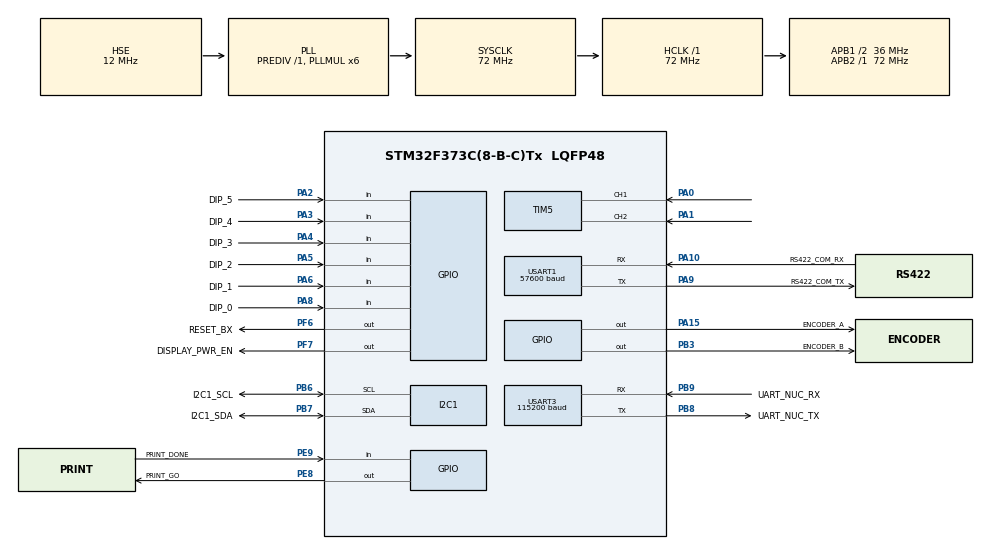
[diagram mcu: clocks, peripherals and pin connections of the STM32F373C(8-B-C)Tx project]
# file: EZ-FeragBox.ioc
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Mcu.Family=STM32F3
Mcu.Name=STM32F373C(8-B-C)Tx
Mcu.Package=LQFP48
NVIC.PriorityGroup=NVIC_PRIORITYGROUP_4
NVIC.RCC_IRQn=true\:0\:0\:false\:false\:true\:true\:false\:true
NVIC.TIM2_IRQn=true\:1\:0\:true\:false\:true\:true\:true\:true
NVIC.TIM3_IRQn=true\:0\:0\:false\:false\:true\:true\:true\:true
NVIC.TIM5_IRQn=true\:0\:0\:false\:false\:true\:true\:true\:true
NVIC.USART1_IRQn=true\:0\:0\:false\:false\:true\:true\:true\:true
NVIC.USART3_IRQn=true\:0\:0\:false\:false\:true\:true\:true\:true
PA0.Signal=S_TIM5_CH1_ETR
PA1.Signal=S_TIM5_CH2
PA10.GPIO_Label=RS422_COM_RX
PA10.Mode=Asynchronous
PA10.Signal=USART1_RX
PA13.Mode=Serial_Wire
PA13.Signal=SYS_JTMS-SWDIO
PA14.Mode=Serial_Wire
PA14.Signal=SYS_JTCK-SWCLK
PA15.GPIO_Label=ENCODER_A
PA15.GPIO_Speed=GPIO_SPEED_FREQ_HIGH
PA15.PinState=GPIO_PIN_SET
PA15.Signal=GPIO_Output
PA2.GPIO_Label=DIP_5
PA2.Signal=GPIO_Input
PA3.GPIO_Label=DIP_4
PA3.Signal=GPIO_Input
PA4.GPIO_Label=DIP_3
PA4.Signal=GPIO_Input
PA5.GPIO_Label=DIP_2
PA5.Signal=GPIO_Input
PA6.GPIO_Label=DIP_1
PA6.Signal=GPIO_Input
PA8.GPIO_Label=DIP_0
PA8.Signal=GPIO_Input
PA9.GPIO_Label=RS422_COM_TX
PA9.Mode=Asynchronous
PA9.Signal=USART1_TX
PB3.GPIO_Label=ENCODER_B
PB3.GPIO_Speed=GPIO_SPEED_FREQ_HIGH
PB3.PinState=GPIO_PIN_SET
PB3.Signal=GPIO_Output
PB6.GPIO_Label=I2C1_SCL
PB6.Mode=I2C
PB6.Signal=I2C1_SCL
PB7.GPIO_Label=I2C1_SDA
PB7.Mode=I2C
PB7.Signal=I2C1_SDA
PB8.GPIO_Label=UART_NUC_TX
PB8.Mode=Asynchronous
PB8.Signal=USART3_TX
PB9.GPIO_Label=UART_NUC_RX
PB9.Mode=Asynchronous
PB9.Signal=USART3_RX
PE8.GPIO_Label=PRINT_GO
PE8.Signal=GPIO_Output
PE9.GPIO_Label=PRINT_DONE
PE9.Signal=GPIO_Input
PF0-OSC_IN.Mode=HSE-External-Oscillator
PF0-OSC_IN.Signal=RCC_OSC_IN
PF1-OSC_OUT.Mode=HSE-External-Oscillator
PF1-OSC_OUT.Signal=RCC_OSC_OUT
PF6.GPIO_Label=RESET_BX
PF6.Signal=GPIO_Output
PF7.GPIO_Label=DISPLAY_PWR_EN
PF7.PinState=GPIO_PIN_SET
PF7.Signal=GPIO_Output
ProjectManager.HeapSize=0x200
ProjectManager.StackSize=0x400
ProjectManager.TargetToolchain=STM32CubeIDE
RCC.AHBFreq_Value=72000000
RCC.APB1CLKDivider=RCC_HCLK_DIV2
RCC.APB1Freq_Value=36000000
RCC.APB1TimFreq_Value=72000000
RCC.APB2Freq_Value=72000000
RCC.APB2TimFreq_Value=72000000
RCC.CortexFreq_Value=72000000
RCC.HCLKFreq_Value=72000000
RCC.HSE_VALUE=12000000
RCC.HSI_VALUE=8000000
RCC.LSE_VALUE=32768
RCC.PLLMUL=RCC_PLL_MUL6
RCC.PLLSourceVirtual=RCC_PLLSOURCE_HSE
RCC.PRESCALERUSB=RCC_USBCLKSOURCE_PLL_DIV1_5
RCC.SYSCLKFreq_VALUE=72000000
RCC.SYSCLKSource=RCC_SYSCLKSOURCE_PLLCLK
RCC.USBFreq_Value=48000000
SH.S_TIM5_CH1_ETR.0=TIM5_CH1,Encoder_Interface
SH.S_TIM5_CH2.0=TIM5_CH2,Encoder_Interface
TIM2.CounterMode=TIM_COUNTERMODE_DOWN
TIM2.Period=100000
TIM3.AutoReloadPreload=TIM_AUTORELOAD_PRELOAD_DISABLE
TIM3.CounterMode=TIM_COUNTERMODE_DOWN
TIM3.Period=10
TIM3.Prescaler=7200
TIM5.AutoReloadPreload=TIM_AUTORELOAD_PRELOAD_ENABLE
TIM5.EncoderMode=TIM_ENCODERMODE_TI12
TIM5.IC1Filter=10
TIM5.IC2Filter=10
USART1.BaudRate=57600
USART1.Parity=PARITY_ODD
USART1.VirtualMode-Asynchronous=VM_ASYNC
USART1.WordLength=WORDLENGTH_9B
USART3.BaudRate=115200
USART3.VirtualMode-Asynchronous=VM_ASYNC
VP_TIM2_VS_ClockSourceINT.Mode=Internal
VP_TIM3_VS_ClockSourceINT.Mode=Internal
board=custom

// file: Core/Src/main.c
/* USER CODE BEGIN Header */
/**
  ******************************************************************************
  * @file           : main.c
  * @brief          : Main program body
  ******************************************************************************
  * @attention
  *
  * Copyright (c) 2024 STMicroelectronics.
  * All rights reserved.
  *
  * This software is licensed under terms that can be found in the LICENSE file
  * in the root directory of this software component.
  * If no LICENSE file comes with this software, it is provided AS-IS.
  *
  ******************************************************************************
  */
/* USER CODE END Header */
#include "main.h"

/* USER CODE BEGIN Includes */

#include <math.h>
#include <stdarg.h>
#include "enc.h"
#include "box.h"
#include "term.h"

#include "AD5593.h"

/* USER CODE END Includes */

/* USER CODE BEGIN PD */

#define CDC_TRANSMIT_TIMEOUT_MS 5 // Timeout for CDC transmission retry before abort

/* USER CODE END PD */

/* USER CODE BEGIN PM */
// htim2: Encoder out clock
// htim3: Timer for encoder-in frequency measurement (10000 ticks/sec)
// htim5: Encoder counter
/* USER CODE END PM */

I2C_HandleTypeDef hi2c1;

TIM_HandleTypeDef htim2;
TIM_HandleTypeDef htim3;
TIM_HandleTypeDef htim5;

UART_HandleTypeDef huart1;
UART_HandleTypeDef huart3;

/* USER CODE BEGIN PV */
volatile uint8_t RxDataNUC;
volatile uint8_t RxDataFERAG;
#define NUC_FIFO_CNT 16
#define NUC_FIFO_SIZE	512
volatile uint8_t TxDataNuc[NUC_FIFO_CNT][NUC_FIFO_SIZE];
volatile uint8_t TxDataLenNuc[NUC_FIFO_CNT];

static int _NUC_InIdx=0;
static int _NUC_StartIdx=0;
static int _NUC_Busy=0;
static int _powerDisplay=12000;
static UINT32 _JumpToAddr=-1;

/* USER CODE END PV */

void SystemClock_Config(void);
static void MX_GPIO_Init(void);
static void MX_USART3_UART_Init(void);
static void MX_TIM3_Init(void);
static void MX_I2C1_Init(void);
static void MX_TIM2_Init(void);
static void MX_TIM5_Init(void);
static void MX_USART1_UART_Init(void);
/* USER CODE BEGIN PFP */

#define WRITE_PROTOTYPE int _write(int file, char *ptr, int len)
static void _jump_to(UINT32 addr);
static void MX_GPIO_DeInit(void);

// void powerCommand(const char* args);

static void _tick_10ms(int ticks);

/* USER CODE END PFP */

int main(void)
{

  /* USER CODE BEGIN 1 */

  if ((int)main>0x8008000)
	  SCB->VTOR = 0x8008000;	// SCB->VTOR must point to the start address of FLASH in >>STM32F373CCTX_FLASH.ld<< if other than 0x8000000

  /* USER CODE END 1 */

  /* MCU Configuration--------------------------------------------------------*/

  /* Reset of all peripherals, Initializes the Flash interface and the Systick. */
  HAL_Init();

  /* Configure the system clock */
  SystemClock_Config();

  /* Initialize all configured peripherals */
  MX_GPIO_Init();
  MX_USART3_UART_Init();
  MX_TIM3_Init();
  MX_I2C1_Init();
  MX_TIM2_Init();
  MX_TIM5_Init();
  MX_USART1_UART_Init();
  /* USER CODE BEGIN 2 */

  HAL_TIM_Encoder_Start(&htim5, TIM_CHANNEL_ALL);

  // Kick off asynchronous UART RCV
  HAL_UART_Receive_IT(&huart1, (uint8_t*)&RxDataFERAG, 1);
  HAL_UART_Receive_IT(&huart3, (uint8_t*)&RxDataNUC, 1);

  term_init();
  enc_init();
  box_init();

  /* USER CODE END 2 */

  /* Infinite loop */
  /* USER CODE BEGIN WHILE */
	AD55936_init(&hi2c1, 0x10 << 1);
	int _ticks=0;
	while (1)
	{
    /* USER CODE END WHILE */

    /* USER CODE BEGIN 3 */
		if (_JumpToAddr!=-1) _jump_to(_JumpToAddr);
		int ticks= HAL_GetTick();

		while (ticks-_ticks>9)
		{
			_tick_10ms(ticks);
			_ticks=ticks;
			if (_powerDisplay && _ticks>_powerDisplay)
			{
				_powerDisplay=0;
				HAL_GPIO_WritePin(DISPLAY_PWR_EN_GPIO_Port, DISPLAY_PWR_EN_Pin, GPIO_PIN_SET);
			}
		}
		box_idle();
//		term_idle();
	}
  /* USER CODE END 3 */
}

void SystemClock_Config(void)
{
  RCC_OscInitTypeDef RCC_OscInitStruct = {0};
  RCC_ClkInitTypeDef RCC_ClkInitStruct = {0};
  RCC_PeriphCLKInitTypeDef PeriphClkInit = {0};

  /** Initializes the RCC Oscillators according to the specified parameters
  * in the RCC_OscInitTypeDef structure.
  */
  RCC_OscInitStruct.OscillatorType = RCC_OSCILLATORTYPE_HSI|RCC_OSCILLATORTYPE_HSE;
  RCC_OscInitStruct.HSEState = RCC_HSE_ON;
  RCC_OscInitStruct.HSEPredivValue = RCC_HSE_PREDIV_DIV1;
  RCC_OscInitStruct.HSIState = RCC_HSI_ON;
  RCC_OscInitStruct.HSICalibrationValue = RCC_HSICALIBRATION_DEFAULT;
  RCC_OscInitStruct.PLL.PLLState = RCC_PLL_ON;
  RCC_OscInitStruct.PLL.PLLSource = RCC_PLLSOURCE_HSE;
  RCC_OscInitStruct.PLL.PLLMUL = RCC_PLL_MUL6;
  if (HAL_RCC_OscConfig(&RCC_OscInitStruct) != HAL_OK)
  {
    Error_Handler();
  }

  /** Initializes the CPU, AHB and APB buses clocks
  */
  RCC_ClkInitStruct.ClockType = RCC_CLOCKTYPE_HCLK|RCC_CLOCKTYPE_SYSCLK
                              |RCC_CLOCKTYPE_PCLK1|RCC_CLOCKTYPE_PCLK2;
  RCC_ClkInitStruct.SYSCLKSource = RCC_SYSCLKSOURCE_PLLCLK;
  RCC_ClkInitStruct.AHBCLKDivider = RCC_SYSCLK_DIV1;
  RCC_ClkInitStruct.APB1CLKDivider = RCC_HCLK_DIV2;
  RCC_ClkInitStruct.APB2CLKDivider = RCC_HCLK_DIV1;

  if (HAL_RCC_ClockConfig(&RCC_ClkInitStruct, FLASH_LATENCY_2) != HAL_OK)
  {
    Error_Handler();
  }
  PeriphClkInit.PeriphClockSelection = RCC_PERIPHCLK_USART1|RCC_PERIPHCLK_USART3
                              |RCC_PERIPHCLK_I2C1;
  PeriphClkInit.Usart1ClockSelection = RCC_USART1CLKSOURCE_PCLK2;
  PeriphClkInit.Usart3ClockSelection = RCC_USART3CLKSOURCE_PCLK1;
  PeriphClkInit.I2c1ClockSelection = RCC_I2C1CLKSOURCE_HSI;
  if (HAL_RCCEx_PeriphCLKConfig(&PeriphClkInit) != HAL_OK)
  {
    Error_Handler();
  }
}

static void MX_I2C1_Init(void)
{

  hi2c1.Instance = I2C1;
  hi2c1.Init.Timing = 0x2000090E;
  hi2c1.Init.OwnAddress1 = 0;
  hi2c1.Init.AddressingMode = I2C_ADDRESSINGMODE_7BIT;
  hi2c1.Init.DualAddressMode = I2C_DUALADDRESS_DISABLE;
  hi2c1.Init.OwnAddress2 = 0;
  hi2c1.Init.OwnAddress2Masks = I2C_OA2_NOMASK;
  hi2c1.Init.GeneralCallMode = I2C_GENERALCALL_DISABLE;
  hi2c1.Init.NoStretchMode = I2C_NOSTRETCH_DISABLE;
  if (HAL_I2C_Init(&hi2c1) != HAL_OK)
  {
    Error_Handler();
  }

  /** Configure Analogue filter
  */
  if (HAL_I2CEx_ConfigAnalogFilter(&hi2c1, I2C_ANALOGFILTER_ENABLE) != HAL_OK)
  {
    Error_Handler();
  }

  /** Configure Digital filter
  */
  if (HAL_I2CEx_ConfigDigitalFilter(&hi2c1, 0) != HAL_OK)
  {
    Error_Handler();
  }

}

static void MX_TIM2_Init(void)
{

  /* USER CODE BEGIN TIM2_Init 0 */
//	PWM for encoder output
  /* USER CODE END TIM2_Init 0 */

  TIM_ClockConfigTypeDef sClockSourceConfig = {0};
  TIM_MasterConfigTypeDef sMasterConfig = {0};

  htim2.Instance = TIM2;
  htim2.Init.Prescaler = 0;
  htim2.Init.CounterMode = TIM_COUNTERMODE_DOWN;
  htim2.Init.Period = 100000;
  htim2.Init.ClockDivision = TIM_CLOCKDIVISION_DIV1;
  htim2.Init.AutoReloadPreload = TIM_AUTORELOAD_PRELOAD_DISABLE;
  if (HAL_TIM_Base_Init(&htim2) != HAL_OK)
  {
    Error_Handler();
  }
  sClockSourceConfig.ClockSource = TIM_CLOCKSOURCE_INTERNAL;
  if (HAL_TIM_ConfigClockSource(&htim2, &sClockSourceConfig) != HAL_OK)
  {
    Error_Handler();
  }
  sMasterConfig.MasterOutputTrigger = TIM_TRGO_RESET;
  sMasterConfig.MasterSlaveMode = TIM_MASTERSLAVEMODE_DISABLE;
  if (HAL_TIMEx_MasterConfigSynchronization(&htim2, &sMasterConfig) != HAL_OK)
  {
    Error_Handler();
  }

}

static void MX_TIM3_Init(void)
{

  TIM_ClockConfigTypeDef sClockSourceConfig = {0};
  TIM_MasterConfigTypeDef sMasterConfig = {0};

  htim3.Instance = TIM3;
  htim3.Init.Prescaler = 7200;
  htim3.Init.CounterMode = TIM_COUNTERMODE_DOWN;
  htim3.Init.Period = 10;
  htim3.Init.ClockDivision = TIM_CLOCKDIVISION_DIV1;
  htim3.Init.AutoReloadPreload = TIM_AUTORELOAD_PRELOAD_DISABLE;
  if (HAL_TIM_Base_Init(&htim3) != HAL_OK)
  {
    Error_Handler();
  }
  sClockSourceConfig.ClockSource = TIM_CLOCKSOURCE_INTERNAL;
  if (HAL_TIM_ConfigClockSource(&htim3, &sClockSourceConfig) != HAL_OK)
  {
    Error_Handler();
  }
  sMasterConfig.MasterOutputTrigger = TIM_TRGO_RESET;
  sMasterConfig.MasterSlaveMode = TIM_MASTERSLAVEMODE_DISABLE;
  if (HAL_TIMEx_MasterConfigSynchronization(&htim3, &sMasterConfig) != HAL_OK)
  {
    Error_Handler();
  }
  /* USER CODE BEGIN TIM3_Init 2 */
	if (HAL_TIM_Base_Start_IT(&htim3) != HAL_OK) {
		Error_Handler();
	}
	HAL_TIM_Base_Start(&htim3);
  /* USER CODE END TIM3_Init 2 */

}

static void MX_TIM5_Init(void)
{

  TIM_Encoder_InitTypeDef sConfig = {0};
  TIM_MasterConfigTypeDef sMasterConfig = {0};

  htim5.Instance = TIM5;
  htim5.Init.Prescaler = 0;
  htim5.Init.CounterMode = TIM_COUNTERMODE_UP;
  htim5.Init.Period = 4294967295;
  htim5.Init.ClockDivision = TIM_CLOCKDIVISION_DIV1;
  htim5.Init.AutoReloadPreload = TIM_AUTORELOAD_PRELOAD_ENABLE;
  sConfig.EncoderMode = TIM_ENCODERMODE_TI12;
  sConfig.IC1Polarity = TIM_ICPOLARITY_RISING;
  sConfig.IC1Selection = TIM_ICSELECTION_DIRECTTI;
  sConfig.IC1Prescaler = TIM_ICPSC_DIV1;
  sConfig.IC1Filter = 10;
  sConfig.IC2Polarity = TIM_ICPOLARITY_RISING;
  sConfig.IC2Selection = TIM_ICSELECTION_DIRECTTI;
  sConfig.IC2Prescaler = TIM_ICPSC_DIV1;
  sConfig.IC2Filter = 10;
  if (HAL_TIM_Encoder_Init(&htim5, &sConfig) != HAL_OK)
  {
    Error_Handler();
  }
  sMasterConfig.MasterOutputTrigger = TIM_TRGO_RESET;
  sMasterConfig.MasterSlaveMode = TIM_MASTERSLAVEMODE_DISABLE;
  if (HAL_TIMEx_MasterConfigSynchronization(&htim5, &sMasterConfig) != HAL_OK)
  {
    Error_Handler();
  }

}

static void MX_USART1_UART_Init(void)
{

  /* USER CODE BEGIN USART1_Init 0 */

//---------------------- UART1: Communication to FERAG --------------------------------

  /* USER CODE END USART1_Init 0 */

  huart1.Instance = USART1;
  huart1.Init.BaudRate = 57600;
  huart1.Init.WordLength = UART_WORDLENGTH_9B;
  huart1.Init.StopBits = UART_STOPBITS_1;
  huart1.Init.Parity = UART_PARITY_ODD;
  huart1.Init.Mode = UART_MODE_TX_RX;
  huart1.Init.HwFlowCtl = UART_HWCONTROL_NONE;
  huart1.Init.OverSampling = UART_OVERSAMPLING_16;
  huart1.Init.OneBitSampling = UART_ONE_BIT_SAMPLE_DISABLE;
  huart1.AdvancedInit.AdvFeatureInit = UART_ADVFEATURE_NO_INIT;
  if (HAL_UART_Init(&huart1) != HAL_OK)
  {
    Error_Handler();
  }

}

static void MX_USART3_UART_Init(void)
{

  /* USER CODE BEGIN USART3_Init 0 */

//---------------------- UART3: Communication to NUC-PC --------------------------------

  /* USER CODE END USART3_Init 0 */

  huart3.Instance = USART3;
  huart3.Init.BaudRate = 115200;
  huart3.Init.WordLength = UART_WORDLENGTH_8B;
  huart3.Init.StopBits = UART_STOPBITS_1;
  huart3.Init.Parity = UART_PARITY_NONE;
  huart3.Init.Mode = UART_MODE_TX_RX;
  huart3.Init.HwFlowCtl = UART_HWCONTROL_NONE;
  huart3.Init.OverSampling = UART_OVERSAMPLING_16;
  huart3.Init.OneBitSampling = UART_ONE_BIT_SAMPLE_DISABLE;
  huart3.AdvancedInit.AdvFeatureInit = UART_ADVFEATURE_NO_INIT;
  if (HAL_UART_Init(&huart3) != HAL_OK)
  {
    Error_Handler();
  }

}

static void MX_GPIO_Init(void)
{
  GPIO_InitTypeDef GPIO_InitStruct = {0};

  /* GPIO Ports Clock Enable */
  __HAL_RCC_GPIOF_CLK_ENABLE();
  __HAL_RCC_GPIOA_CLK_ENABLE();
  __HAL_RCC_GPIOE_CLK_ENABLE();
  __HAL_RCC_GPIOB_CLK_ENABLE();

  /*Configure GPIO pin Output Level */
  HAL_GPIO_WritePin(PRINT_GO_GPIO_Port, PRINT_GO_Pin, GPIO_PIN_RESET);

  /*Configure GPIO pin Output Level */
  HAL_GPIO_WritePin(RESET_BX_GPIO_Port, RESET_BX_Pin, GPIO_PIN_RESET);

  /*Configure GPIO pin Output Level */
  HAL_GPIO_WritePin(DISPLAY_PWR_EN_GPIO_Port, DISPLAY_PWR_EN_Pin, GPIO_PIN_SET);

  /*Configure GPIO pin Output Level */
  HAL_GPIO_WritePin(ENCODER_A_GPIO_Port, ENCODER_A_Pin, GPIO_PIN_SET);

  /*Configure GPIO pin Output Level */
  HAL_GPIO_WritePin(ENCODER_B_GPIO_Port, ENCODER_B_Pin, GPIO_PIN_SET);

  /*Configure GPIO pins : DIP_5_Pin DIP_4_Pin DIP_3_Pin DIP_2_Pin
                           DIP_1_Pin DIP_0_Pin */
  GPIO_InitStruct.Pin = DIP_5_Pin|DIP_4_Pin|DIP_3_Pin|DIP_2_Pin
                          |DIP_1_Pin|DIP_0_Pin;
  GPIO_InitStruct.Mode = GPIO_MODE_INPUT;
  GPIO_InitStruct.Pull = GPIO_NOPULL;
  HAL_GPIO_Init(GPIOA, &GPIO_InitStruct);

  /*Configure GPIO pin : PRINT_GO_Pin */
  GPIO_InitStruct.Pin = PRINT_GO_Pin;
  GPIO_InitStruct.Mode = GPIO_MODE_OUTPUT_PP;
  GPIO_InitStruct.Pull = GPIO_NOPULL;
  GPIO_InitStruct.Speed = GPIO_SPEED_FREQ_LOW;
  HAL_GPIO_Init(PRINT_GO_GPIO_Port, &GPIO_InitStruct);

  /*Configure GPIO pin : PRINT_DONE_Pin */
  GPIO_InitStruct.Pin = PRINT_DONE_Pin;
  GPIO_InitStruct.Mode = GPIO_MODE_INPUT;
  GPIO_InitStruct.Pull = GPIO_NOPULL;
  HAL_GPIO_Init(PRINT_DONE_GPIO_Port, &GPIO_InitStruct);

  /*Configure GPIO pins : RESET_BX_Pin DISPLAY_PWR_EN_Pin */
  GPIO_InitStruct.Pin = RESET_BX_Pin|DISPLAY_PWR_EN_Pin;
  GPIO_InitStruct.Mode = GPIO_MODE_OUTPUT_PP;
  GPIO_InitStruct.Pull = GPIO_NOPULL;
  GPIO_InitStruct.Speed = GPIO_SPEED_FREQ_LOW;
  HAL_GPIO_Init(GPIOF, &GPIO_InitStruct);

  /*Configure GPIO pin : ENCODER_A_Pin */
  GPIO_InitStruct.Pin = ENCODER_A_Pin;
  GPIO_InitStruct.Mode = GPIO_MODE_OUTPUT_PP;
  GPIO_InitStruct.Pull = GPIO_NOPULL;
  GPIO_InitStruct.Speed = GPIO_SPEED_FREQ_HIGH;
  HAL_GPIO_Init(ENCODER_A_GPIO_Port, &GPIO_InitStruct);

  /*Configure GPIO pin : ENCODER_B_Pin */
  GPIO_InitStruct.Pin = ENCODER_B_Pin;
  GPIO_InitStruct.Mode = GPIO_MODE_OUTPUT_PP;
  GPIO_InitStruct.Pull = GPIO_NOPULL;
  GPIO_InitStruct.Speed = GPIO_SPEED_FREQ_HIGH;
  HAL_GPIO_Init(ENCODER_B_GPIO_Port, &GPIO_InitStruct);

}

/* USER CODE BEGIN 4 */
//--- MX_GPIO_DeInit ----------------------------------
static void MX_GPIO_DeInit(void)
{
	__HAL_RCC_GPIOF_CLK_DISABLE();
	__HAL_RCC_GPIOA_CLK_DISABLE();
	__HAL_RCC_GPIOE_CLK_DISABLE();
	__HAL_RCC_GPIOB_CLK_DISABLE();
	HAL_GPIO_DeInit(PRINT_GO_GPIO_Port, PRINT_GO_Pin);
}

//--- HAL_TIM_PeriodElapsedCallback -------------------------
void HAL_TIM_PeriodElapsedCallback(TIM_HandleTypeDef *htim)
{
	if (htim==&htim3) 		enc_in_irq(htim);
	else if (htim==&htim2) 	enc_out_irq(htim);
}

//--- enc_get_pos -------------------------------------
int32_t	enc_get_pos(void)
{
	return __HAL_TIM_GET_COUNTER(&htim5);
}

// UART RX Interrupt function override
void HAL_UART_RxCpltCallback(UART_HandleTypeDef *huart)
{
	if (huart->Instance == USART1)
	{
		box_handle_ferag_char(RxDataFERAG);
		HAL_UART_Receive_IT(&huart1, (uint8_t*)&RxDataFERAG, 1);
	}
	else if (huart->Instance == USART3)
	{
		term_handle_char(RxDataNUC);
		HAL_UART_Receive_IT(&huart3, (uint8_t*)&RxDataNUC, 1);
	}
}

//--- ferag_send_char -----------------------
void ferag_send_char(char data)
{
	HAL_UART_Transmit(&huart1, (uint8_t*)&data, 1, HAL_MAX_DELAY);
}

//--- _tick_10ms ---------------------
static void _tick_10ms(int ticks)
{
	box_tick_10ms(ticks);
	enc_tick_10ms(ticks);
}

//--- adc_get_value --------------------------
float adc_get_value(int no, float factor)
{
	uint16_t val;
	AD5593R_ReadADC(&hi2c1, 0x10 << 1, no, &val);
	return ((float)val * factor) / 4095.0;
}

//--- adc_get_temp --------------------------------------
float adc_get_temp(void)
{
    const float ADC_25 = 819.0; // ADC value at 25 degrees Celsius
    const float SLOPE = 2.654; // ADC counts per degree Celsius
	uint16_t val;
	AD5593R_ReadADC(&hi2c1, 0x10 << 1, 8, &val);
    return 25.0 + ((float)val - ADC_25) / SLOPE;
}

//--- adc_get_revision ------------------------------------
uint8_t adc_get_revision(float val)
{
	const float baseVoltage = 0.075f; // Base voltage (0.1V - 0.025V)
    const float increment = 0.1f; // Voltage increment per revision
    const float maxValidVoltage = 26.0f; // Example: max expected voltage, adjust based on your last revision

    if (val < baseVoltage || val > maxValidVoltage) return 0; // Invalid voltage

    return (uint8_t)floor((val - baseVoltage) / increment) + 1;
}

//--- gpio_get_dipswitches -------------------------------
uint8_t gpio_get_dipswitches(void)
{
    uint8_t dipswitches = 0;

    if (HAL_GPIO_ReadPin(DIP_0_GPIO_Port, DIP_0_Pin) == GPIO_PIN_SET) dipswitches |= 1 << 0;
    if (HAL_GPIO_ReadPin(DIP_1_GPIO_Port, DIP_1_Pin) == GPIO_PIN_SET) dipswitches |= 1 << 1;
    if (HAL_GPIO_ReadPin(DIP_2_GPIO_Port, DIP_2_Pin) == GPIO_PIN_SET) dipswitches |= 1 << 2;
    if (HAL_GPIO_ReadPin(DIP_3_GPIO_Port, DIP_3_Pin) == GPIO_PIN_SET) dipswitches |= 1 << 3;
    if (HAL_GPIO_ReadPin(DIP_4_GPIO_Port, DIP_4_Pin) == GPIO_PIN_SET) dipswitches |= 1 << 4;
    if (HAL_GPIO_ReadPin(DIP_5_GPIO_Port, DIP_5_Pin) == GPIO_PIN_SET) dipswitches |= 1 << 5;

    return dipswitches;
}

//--- _nuc_send_next -------------------------------------
void _nuc_send_next()
{
	if (TxDataLenNuc[_NUC_StartIdx] && !_NUC_Busy)
	{
		__disable_irq();
		_NUC_Busy = TRUE;
		HAL_UART_Transmit_IT(&huart3, TxDataNuc[_NUC_StartIdx], TxDataLenNuc[_NUC_StartIdx]); // NUC
		TxDataLenNuc[_NUC_StartIdx] = 0;
		_NUC_StartIdx = (_NUC_StartIdx+1) % NUC_FIFO_CNT;
		__enable_irq();
	}
}

//--- nuc_printf --------------------------------------------
void nuc_printf (const char *format, ...)
{
	int idx;

	__disable_irq();
	idx = _NUC_InIdx;
	_NUC_InIdx = (_NUC_InIdx+1) % NUC_FIFO_CNT;
	__enable_irq();

	va_list args;
	va_start(args, format);
	TxDataLenNuc[idx]=vsprintf(TxDataNuc[idx], format, args);
	va_end(args);
	_nuc_send_next();
}

//--- _jump_to -----------------------------------------------
void jump_to(UINT32 addr)
{
	_JumpToAddr = addr;
}

static void _jump_to(UINT32 addr)
{
	__disable_irq();
	__set_PRIMASK(1);

	HAL_RCC_DeInit();
	HAL_UART_DeInit(&huart1);
	HAL_UART_DeInit(&huart3);
	HAL_TIM_Base_DeInit(&htim2);
	HAL_TIM_Base_DeInit(&htim3);
	HAL_TIM_Base_DeInit(&htim5);
	MX_GPIO_DeInit();
	HAL_DeInit();

	SysTick->CTRL = 0;
	SysTick->LOAD = 0;
	SysTick->VAL = 0;

	UINT32 *vtab = (UINT32*) addr;
	SCB->VTOR = addr;
	typedef int(*start_fct)	(void);
	__set_MSP(vtab[0]);
	start_fct start;
	start = (start_fct)vtab[1];
	__enable_irq();
	start();
}

//--- HAL_UART_TxCpltCallback ---------------------------
void HAL_UART_TxCpltCallback(UART_HandleTypeDef *huart)
{
	_NUC_Busy = FALSE;
	_nuc_send_next();
}

//--- WRITE_PROTOTYPE ----------------------------------------------------
// Retarget stdout to UART and CDC
WRITE_PROTOTYPE {
	/*
	int idx = (_NUC_InIdx+1) % NUC_FIFO_CNT;
	__disable_irq();
	TxDataLenNuc[_NUC_InIdx] = len;
	memcpy(&TxDataNuc[_NUC_InIdx], ptr, len);
	_NUC_InIdx = idx;
	__enable_irq();

	_nuc_send_next();
    return len; // Return the number of characters written
    */
	return 0;
}

/* USER CODE END 4 */

void Error_Handler(void)
{
	__disable_irq();
	while (1) {
	}
}

#ifdef  USE_FULL_ASSERT
/**
  * @brief  Reports the name of the source file and the source line number
  *         where the assert_param error has occurred.
  * @param  file: pointer to the source file name
  * @param  line: assert_param error line source number
  * @retval None
  */
void assert_failed(uint8_t *file, uint32_t line)
{
  /* USER CODE BEGIN 6 */
  /* User can add his own implementation to report the file name and line number,
     ex: nuc_printf("Wrong parameters value: file %s on line %d\r\n", file, line) */
  /* USER CODE END 6 */
}
#endif /* USE_FULL_ASSERT */
